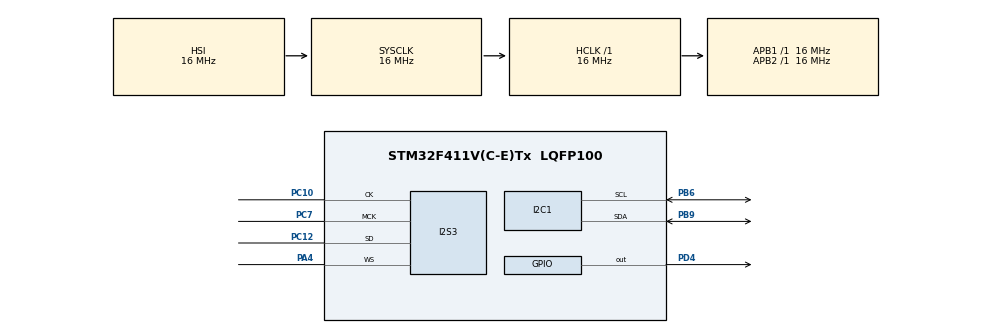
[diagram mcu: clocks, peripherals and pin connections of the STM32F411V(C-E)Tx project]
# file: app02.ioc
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I2S3.ErrorAudioFreq=-0.27 %
I2S3.FullDuplexMode=I2S_FULLDUPLEXMODE_DISABLE
I2S3.Instance=SPI$Index
I2S3.RealAudioFreq=7.978 KHz
I2S3.VirtualMode=I2S_MODE_MASTER
Mcu.Family=STM32F4
Mcu.Name=STM32F411V(C-E)Tx
Mcu.Package=LQFP100
NVIC.PriorityGroup=NVIC_PRIORITYGROUP_4
PA4.Mode=Half_Duplex_Master
PA4.Signal=I2S3_WS
PB6.Mode=I2C
PB6.Signal=I2C1_SCL
PB9.Mode=I2C
PB9.Signal=I2C1_SDA
PC10.Mode=Half_Duplex_Master
PC10.Signal=I2S3_CK
PC12.Mode=Half_Duplex_Master
PC12.Signal=I2S3_SD
PC7.Mode=Master_Clock_Activated
PC7.Signal=I2S3_MCK
PD4.Signal=GPIO_Output
ProjectManager.HeapSize=0x200
ProjectManager.StackSize=0x400
ProjectManager.TargetToolchain=STM32CubeIDE
RCC.AHBFreq_Value=16000000
RCC.APB1Freq_Value=16000000
RCC.APB2Freq_Value=16000000
RCC.CortexFreq_Value=16000000
RCC.HSE_VALUE=25000000
RCC.HSI_VALUE=16000000
RCC.LSE_VALUE=32768
RCC.SYSCLKFreq_VALUE=16000000
RCC.VCOOutputFreq_Value=192000000
board=custom

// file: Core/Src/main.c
/* USER CODE BEGIN Header */
/**
  ******************************************************************************
  * @file           : main.c
  * @brief          : Main program body
  ******************************************************************************
  * @attention
  *
  * Copyright (c) 2025 STMicroelectronics.
  * All rights reserved.
  *
  * This software is licensed under terms that can be found in the LICENSE file
  * in the root directory of this software component.
  * If no LICENSE file comes with this software, it is provided AS-IS.
  *
  ******************************************************************************
  */
/* USER CODE END Header */
#include "main.h"

I2C_HandleTypeDef hi2c1;

I2S_HandleTypeDef hi2s3;

void SystemClock_Config(void);
static void MX_GPIO_Init(void);
static void MX_I2C1_Init(void);
static void MX_I2S3_Init(void);

/* USER CODE BEGIN 0 */
#define AUDIO_DEV_ADDR 0x94

void audio_write_reg(uint8_t reg_addr, uint8_t reg_val) {
	HAL_I2C_Mem_Write(&hi2c1, AUDIO_DEV_ADDR, reg_addr, 1, &reg_val, 1, HAL_MAX_DELAY);
}

uint8_t audio_read_reg(uint8_t reg_addr) {
	uint8_t reg_val;
	HAL_I2C_Mem_Read(&hi2c1, AUDIO_DEV_ADDR, reg_addr, 1, &reg_val, 1, HAL_MAX_DELAY);
	return reg_val;
}

void audio_init() {
	HAL_Delay(100);
	HAL_GPIO_WritePin(GPIOD, GPIO_PIN_4, GPIO_PIN_RESET);
	HAL_Delay(100);
	HAL_GPIO_WritePin(GPIOD, GPIO_PIN_4, GPIO_PIN_SET);
	HAL_Delay(100);

	audio_write_reg(0x02, 0b10011110);
	audio_write_reg(0x04, 0b10101111);
	audio_write_reg(0x06, 0b00000111);
}
/* USER CODE END 0 */

int main(void)
{

  /* MCU Configuration--------------------------------------------------------*/

  /* Reset of all peripherals, Initializes the Flash interface and the Systick. */
  HAL_Init();

  /* Configure the system clock */
  SystemClock_Config();

  /* Initialize all configured peripherals */
  MX_GPIO_Init();
  MX_I2C1_Init();
  MX_I2S3_Init();
  /* USER CODE BEGIN 2 */
  audio_init();
  uint16_t* audio_data = (uint16_t*)0x08020000;
  /* USER CODE END 2 */

  /* Infinite loop */
  while (1)
  {
	  for (int i = 0; i < 127854; i++) {
		  HAL_I2S_Transmit(&hi2s3, &audio_data[i], 1, HAL_MAX_DELAY);
		  HAL_I2S_Transmit(&hi2s3, &audio_data[i], 1, HAL_MAX_DELAY);
	  }
  }
}

void SystemClock_Config(void)
{
  RCC_OscInitTypeDef RCC_OscInitStruct = {0};
  RCC_ClkInitTypeDef RCC_ClkInitStruct = {0};

  /** Macro to configure the PLL multiplication factor
  */
  __HAL_RCC_PLL_PLLM_CONFIG(16);

  /** Macro to configure the PLL clock source
  */
  __HAL_RCC_PLL_PLLSOURCE_CONFIG(RCC_PLLSOURCE_HSI);

  /** Configure the main internal regulator output voltage
  */
  __HAL_RCC_PWR_CLK_ENABLE();
  __HAL_PWR_VOLTAGESCALING_CONFIG(PWR_REGULATOR_VOLTAGE_SCALE1);

  /** Initializes the RCC Oscillators according to the specified parameters
  * in the RCC_OscInitTypeDef structure.
  */
  RCC_OscInitStruct.OscillatorType = RCC_OSCILLATORTYPE_HSI;
  RCC_OscInitStruct.HSIState = RCC_HSI_ON;
  RCC_OscInitStruct.HSICalibrationValue = RCC_HSICALIBRATION_DEFAULT;
  RCC_OscInitStruct.PLL.PLLState = RCC_PLL_NONE;
  RCC_OscInitStruct.PLL.PLLSource = RCC_PLLSOURCE_HSI;
  if (HAL_RCC_OscConfig(&RCC_OscInitStruct) != HAL_OK)
  {
    Error_Handler();
  }

  /** Initializes the CPU, AHB and APB buses clocks
  */
  RCC_ClkInitStruct.ClockType = RCC_CLOCKTYPE_HCLK|RCC_CLOCKTYPE_SYSCLK
                              |RCC_CLOCKTYPE_PCLK1|RCC_CLOCKTYPE_PCLK2;
  RCC_ClkInitStruct.SYSCLKSource = RCC_SYSCLKSOURCE_HSI;
  RCC_ClkInitStruct.AHBCLKDivider = RCC_SYSCLK_DIV1;
  RCC_ClkInitStruct.APB1CLKDivider = RCC_HCLK_DIV1;
  RCC_ClkInitStruct.APB2CLKDivider = RCC_HCLK_DIV1;

  if (HAL_RCC_ClockConfig(&RCC_ClkInitStruct, FLASH_LATENCY_0) != HAL_OK)
  {
    Error_Handler();
  }
}

static void MX_I2C1_Init(void)
{

  hi2c1.Instance = I2C1;
  hi2c1.Init.ClockSpeed = 100000;
  hi2c1.Init.DutyCycle = I2C_DUTYCYCLE_2;
  hi2c1.Init.OwnAddress1 = 0;
  hi2c1.Init.AddressingMode = I2C_ADDRESSINGMODE_7BIT;
  hi2c1.Init.DualAddressMode = I2C_DUALADDRESS_DISABLE;
  hi2c1.Init.OwnAddress2 = 0;
  hi2c1.Init.GeneralCallMode = I2C_GENERALCALL_DISABLE;
  hi2c1.Init.NoStretchMode = I2C_NOSTRETCH_DISABLE;
  if (HAL_I2C_Init(&hi2c1) != HAL_OK)
  {
    Error_Handler();
  }

}

static void MX_I2S3_Init(void)
{

  hi2s3.Instance = SPI3;
  hi2s3.Init.Mode = I2S_MODE_MASTER_TX;
  hi2s3.Init.Standard = I2S_STANDARD_PHILIPS;
  hi2s3.Init.DataFormat = I2S_DATAFORMAT_16B;
  hi2s3.Init.MCLKOutput = I2S_MCLKOUTPUT_ENABLE;
  hi2s3.Init.AudioFreq = I2S_AUDIOFREQ_8K;
  hi2s3.Init.CPOL = I2S_CPOL_LOW;
  hi2s3.Init.ClockSource = I2S_CLOCK_PLL;
  hi2s3.Init.FullDuplexMode = I2S_FULLDUPLEXMODE_DISABLE;
  if (HAL_I2S_Init(&hi2s3) != HAL_OK)
  {
    Error_Handler();
  }

}

static void MX_GPIO_Init(void)
{
  GPIO_InitTypeDef GPIO_InitStruct = {0};

  /* GPIO Ports Clock Enable */
  __HAL_RCC_GPIOA_CLK_ENABLE();
  __HAL_RCC_GPIOC_CLK_ENABLE();
  __HAL_RCC_GPIOD_CLK_ENABLE();
  __HAL_RCC_GPIOB_CLK_ENABLE();

  /*Configure GPIO pin Output Level */
  HAL_GPIO_WritePin(GPIOD, GPIO_PIN_4, GPIO_PIN_RESET);

  /*Configure GPIO pin : PD4 */
  GPIO_InitStruct.Pin = GPIO_PIN_4;
  GPIO_InitStruct.Mode = GPIO_MODE_OUTPUT_PP;
  GPIO_InitStruct.Pull = GPIO_NOPULL;
  GPIO_InitStruct.Speed = GPIO_SPEED_FREQ_LOW;
  HAL_GPIO_Init(GPIOD, &GPIO_InitStruct);

}

void Error_Handler(void)
{
  __disable_irq();
  while (1)
  {
  }
}
